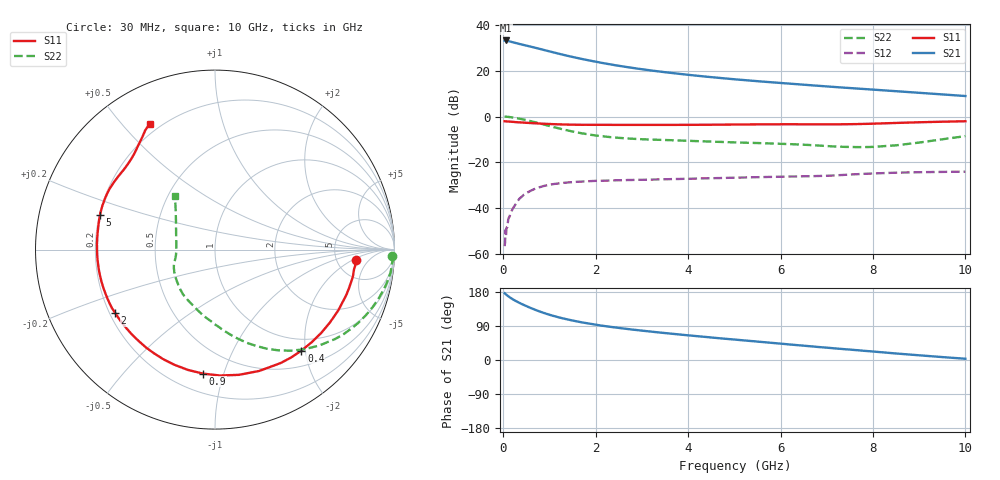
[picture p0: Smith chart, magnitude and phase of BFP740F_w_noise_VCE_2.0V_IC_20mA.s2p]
! Infineon Technologies  Discrete & RF Semiconductors
! BFP740F
! VCE =  2.0 V,  IC =  20 mA
! Common Emitter S-Parameters:  Oct 2012
# GHz  S  MA  R  50
!  f  S11  S21  S12  S22
! GHz  MAG  ANG  MAG  ANG  MAG  ANG  MAG  ANG
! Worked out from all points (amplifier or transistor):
!   99 points, 30 MHz to 10 GHz, reference 50 ohm
!   highest |S21| = 33.1 dB at 50 MHz (marker M1)
!   |S21| within 3 dB of that: start of sweep to 655.7 MHz
!   unconditionally stable (mu >= 1): 5.859 GHz to end of sweep
!   at 350 MHz: K = 0.14, MSG = 33.7 dB, |S12| = -35.8 dB
!   at 3.5 GHz: K = 0.68, MSG = 23.3 dB, |S12| = -27.3 dB
!   at 10 GHz: K = 1.21, MAG = 13.7 dB, |S12| = -24.0 dB
!   lowest NFmin = 0.64 dB at 450 MHz
!   S11 on the Smith chart (normalised r, x): 30 MHz: 7.72, -2.29; 400 MHz: 0.77, -1.92; 900 MHz: 0.32, -0.86; 2 GHz: 0.22, -0.28; 5 GHz: 0.20, +0.14; 10 GHz: 0.16, +0.60
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0.03  0.7875 -4.1  45.22 176.2  0.0015 70.1  0.9894 -2.0
0.05  0.7859 -6.7  45.34 174.2  0.0034 94.8  0.9911 -3.9
0.12  0.7769 -16.1  43.73 167.3  0.0062 84.1  0.9776 -10.1
0.2  0.7658 -26.2  41.59 160.7  0.0096 77.2  0.9529 -16.4
0.3  0.7523 -38.1  39.19 153.9  0.0138 72.2  0.9163 -23.6
0.4  0.7406 -49.5  37.07 147.8  0.0179 66.0  0.8756 -30.4
0.6  0.7196 -70.0  33.15 137.0  0.0243 56.9  0.7893 -42.6
0.7  0.7104 -79.2  31.29 132.1  0.0271 52.8  0.7461 -48.1
0.9  0.6942 -95.5  27.83 123.3  0.0311 45.7  0.6606 -58.1
1.1  0.6807 -109.1  24.74 115.9  0.0339 40.1  0.5851 -66.7
1.3  0.6705 -120.4  22.08 109.6  0.0359 36.1  0.5221 -74.3
1.5  0.6635 -129.8  19.83 104.2  0.0372 33.0  0.4714 -81.1
1.7  0.66 -137.9  17.95 99.4  0.0383 30.4  0.4305 -87.3
2  0.659 -147.7  15.64 93.3  0.0397 27.5  0.3871 -96.2
2.6  0.6571 -162.4  12.27 83.1  0.041 23.9  0.3375 -110.5
3.4  0.6568 -176.0  9.498 72.3  0.0428 22.0  0.3101 -123.5
4.2  0.6598 173.0  7.721 62.8  0.0446 21.2  0.2909 -132.6
5  0.6686 163.3  6.479 54.0  0.0465 20.8  0.2734 -141.7
5.1  0.6702 162.2  6.351 52.9  0.0468 20.7  0.2714 -143.0
6.7  0.676 144.4  4.76 35.7  0.0502 20.7  0.2373 -162.6
8.5  0.7241 125.9  3.559 17.2  0.0598 18.5  0.2358 156.8
10  0.7885 117.5  2.794 3.3  0.0629 13.7  0.3738 126.7
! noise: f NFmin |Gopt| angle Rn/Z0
0.45  0.64  0.06  8  1.06
0.9  0.67  0.07  22  0.67
1.5  0.72  0.07  40  0.48
1.9  0.75  0.07  56  0.4
2.4  0.8  0.07  74  0.41
3.5  0.9  0.06  94  0.37
5.5  1.08  0.09  -158  0.31
10  1.47  0.39  -107  0.12
